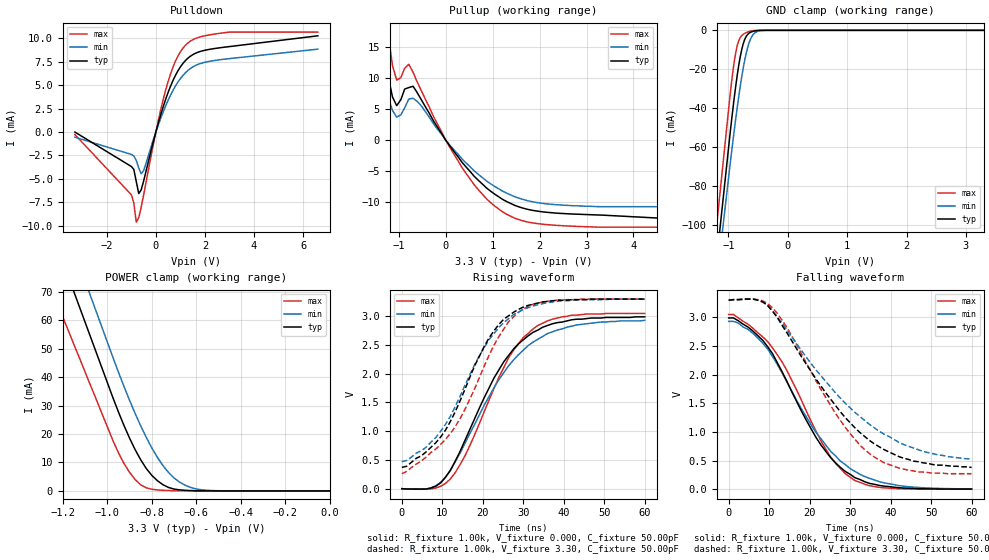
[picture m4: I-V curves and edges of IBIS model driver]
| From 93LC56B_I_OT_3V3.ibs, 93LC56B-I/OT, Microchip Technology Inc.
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|   Model driver
[Model]   driver
Model_type   3-state
Vmeas = 1.65
C_comp   5.00pF   5.00pF   5.00pF
[Temperature Range]   25.00   85.00   -40.00
[Voltage Range]   3.30V   2.50V   5.50V
[Pullup Reference]   3.30V   3.30V   3.30V
[POWER Clamp Reference]   3.30V   3.30V   3.30V
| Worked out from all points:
|   slope of the pulldown table from 0 to 0.495 V, typ, clamps not added: 118 ohm
|   slope of the pullup table from 0 to 0.495 V, typ, clamps not added: 103 ohm
|   GND clamp passes 1 mA (typ) near -0.63 V on its own axis
|   POWER clamp passes 1 mA (typ) near -0.72 V on its own axis
|   rising waveform, R_fixture 1.00k, V_fixture 0.000, C_fixture 50.00pF: 20-80 % time 13.2ns typ, 14.9ns min, 12.1ns max; typ from 0 V to 2.99 V
|   rising waveform, R_fixture 1.00k, V_fixture 3.30, C_fixture 50.00pF: 20-80 % time 12.3ns typ, 13.2ns min, 13.5ns max; typ from 0.37 V to 3.3 V
|   falling waveform, R_fixture 1.00k, V_fixture 0.000, C_fixture 50.00pF: 20-80 % time 14.1ns typ, 15.7ns min, 13.7ns max; typ from 2.99 V to 0.001 V
|   falling waveform, R_fixture 1.00k, V_fixture 3.30, C_fixture 50.00pF: 20-80 % time 18.3ns typ, 21ns min, 15.7ns max; typ from 3.3 V to 0.38 V
[GND_clamp]
| voltage   I(typ)   I(min)   I(max)
-3.3V     -719.8mA   -687.3mA   -722.4mA
-1.26V    -135.5mA   -145.5mA   -118.5mA
-1.175V   -111.2mA   -122.9mA   -93.38mA
-1.09V    -86.83mA   -100.3mA   -68.22mA
-975mV    -53.89mA   -69.79mA   -34.18mA
-900mV    -34.16mA   -50.92mA   -15.71mA
-850mV    -22.76mA   -39.25mA   -7.697mA
-800mV    -13.44mA   -28.59mA   -3.656mA
-700mV    -3.104mA   -11.74mA   -1.146mA
-600mV    -676.2uA   -2.866mA   -225.8uA
-425mV    -12.25uA   -101.8uA   -463.5nA
3.3V      10pA       10pA       10pA
[POWER_clamp]
| voltage   I(typ)   I(min)   I(max)
-3.3V     526.6mA    546.4mA    466mA
-1.25V    91.2mA     106mA      70.76mA
-1.225V   85.89mA    100.7mA    65.94mA
-1.15V    69.96mA    84.56mA    51.48mA
-1.125V   64.65mA    79.19mA    46.66mA
-1.075V   54.03mA    68.45mA    37.02mA
-950mV    27.73mA    41.74mA    13.41mA
-875mV    14.5mA     27.21mA    3.982mA
-800mV    5.451mA    15.09mA    591.2uA
-700mV    652.2uA    4.533mA    88.9uA
-550mV    18.21uA    216.5uA    1.62uA
0V        10pA       10pA       10pA
[Pulldown]
| voltage   I(typ)   I(min)   I(max)
-3.3V     -12.17uA   -562uA     -271.8uA
-1V       -3.692mA   -2.402mA   -6.712mA
-900mV    -4.002mA   -2.562mA   -7.582mA
-800mV    -5.292mA   -3.052mA   -9.636mA
-700mV    -6.578mA   -3.852mA   -9.146mA
-500mV    -5.24mA    -4.12mA    -6.739mA
0V        10pA       10pA       10pA
400mV     3.503mA    2.801mA    4.496mA
800mV     6.054mA    4.918mA    7.569mA
1.2V      7.613mA    6.313mA    9.241mA
3V        9.113mA    7.83mA     10.66mA
6.6V      10.26mA    8.838mA    10.66mA
[Pullup]
| voltage   I(typ)   I(min)   I(max)
-3.3V     85.41mA    51.45mA    133.6mA
-1.75V    28.85mA    17.88mA    45.93mA
-1.49V    19.35mA    12.24mA    31.21mA
-1.31V    13.02mA    8.486mA    21.4mA
-1.22V    9.849mA    6.607mA    16.49mA
-1.14V    6.961mA    4.794mA    12.01mA
-1.05V    5.555mA    3.709mA    9.669mA
-790mV    8.464mA    6.633mA    12.2mA
-700mV    8.674mA    6.739mA    10.92mA
430mV     -4.309mA   -3.663mA   -5.343mA
1.47V     -10.49mA   -9.097mA   -12.55mA
6.6V      -13.36mA   -10.69mA   -13.99mA
[Ramp]
| variable   typ   min   max
dV/dt_r   1.79/6.39n   1.76/5.86n   1.83/8.82n
dV/dt_f   1.76/6.81n   1.70/6.07n   1.82/8.99n
R_load = 1.00k
[Rising Waveform]
R_fixture = 1.00k
V_fixture = 0.000
C_fixture = 50.00pF
| time   V(typ)   V(min)   V(max)
0s        -24.86uV   -3.65uV    -80.45uV
7.2ns     10.15mV    14.7mV     -3.58mV
9.6ns     100mV      110mV      41.5mV
12ns      320mV      320mV      170mV
15.6ns    840mV      790mV      570mV
22.8ns    1.93V      1.76V      1.75V
27.6ns    2.43V      2.24V      2.41V
32.4ns    2.72V      2.55V      2.78V
43.2ns    2.95V      2.85V      3.02V
60ns      2.99V      2.93V      3.05V
[Rising Waveform]
R_fixture = 1.00k
V_fixture = 3.30
C_fixture = 50.00pF
| time   V(typ)   V(min)   V(max)
0s        370mV      470mV      260mV
6ns       640mV      720mV      550mV
9.6ns     900mV      1V         770mV
12ns      1.17V      1.26V      960mV
15.6ns    1.73V      1.8V       1.38V
21.6ns    2.63V      2.6V       2.33V
25.2ns    2.95V      2.89V      2.78V
27.6ns    3.07V      3.03V      2.99V
34.8ns    3.25V      3.22V      3.25V
60ns      3.3V       3.3V       3.3V
[Falling Waveform]
R_fixture = 1.00k
V_fixture = 0.000
C_fixture = 50.00pF
| time   V(typ)   V(min)   V(max)
0s        2.99V      2.93V      3.05V
4.8ns     2.83V      2.79V      2.88V
10.8ns    2.37V      2.32V      2.47V
14.4ns    1.88V      1.87V      2.07V
21.6ns    900mV      990mV      1.01V
25.2ns    550mV      660mV      560mV
28.8ns    310mV      430mV      270mV
33.6ns    130mV      220mV      86.51mV
38.4ns    52.92mV    110mV      23.05mV
60ns      730uV      3.92mV     70.94uV
[Falling Waveform]
R_fixture = 1.00k
V_fixture = 3.30
C_fixture = 50.00pF
| time   V(typ)   V(min)   V(max)
0s        3.3V       3.3V       3.3V
7.2ns     3.3V       3.3V       3.31V
10.8ns    3.11V      3.12V      3.17V
14.4ns    2.73V      2.78V      2.82V
26.4ns    1.46V      1.68V      1.32V
32.4ns    990mV      1.27V      770mV
34.8ns    850mV      1.13V      620mV
38.4ns    690mV      960mV      460mV
45.6ns    490mV      720mV      320mV
60ns      380mV      530mV      270mV
